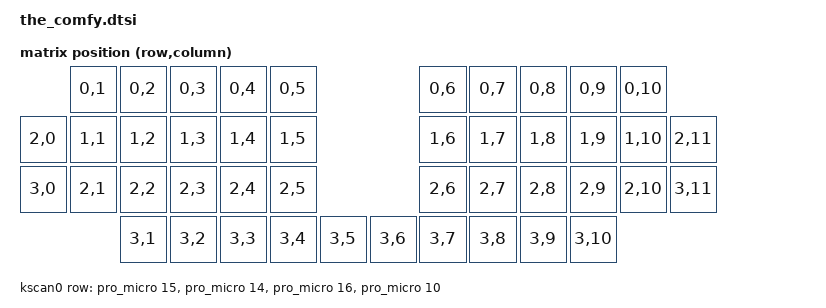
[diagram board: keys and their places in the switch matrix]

#include <dt-bindings/zmk/matrix_transform.h> // Put this with the other includes at the top of your dtsi

/ {
    kscan0: kscan0 {
        compatible = "zmk,kscan-gpio-matrix";
        diode-direction = "col2row";
        wakeup-source;

        row-gpios
            = <&pro_micro 15 (GPIO_ACTIVE_HIGH | GPIO_PULL_DOWN)>
            , <&pro_micro 14 (GPIO_ACTIVE_HIGH | GPIO_PULL_DOWN)>
            , <&pro_micro 16 (GPIO_ACTIVE_HIGH | GPIO_PULL_DOWN)>
            , <&pro_micro 10 (GPIO_ACTIVE_HIGH | GPIO_PULL_DOWN)>
            ;

    };
};

/ {
    physical_layout0: physical_layout_0 { // First physical layout, use different naming for other layouts
        compatible = "zmk,physical-layout";
        display-name = "Default Layout";
        kscan = <&kscan0>; // Label of the kscan node, optional if all layouts use the same
        transform = <&default_transform>; // Label of the matrix transform for this layout
    };
};

/ {
    default_transform: keymap_transform0 {
        compatible = "zmk,matrix-transform";
        columns = <12>;
        rows = <4>;
        map = <
                    RC(0,1) RC(0,2) RC(0,3) RC(0,4) RC(0,5)                     RC(0,6) RC(0,7) RC(0,8) RC(0,9) RC(0,10)
            RC(2,0) RC(1,1) RC(1,2) RC(1,3) RC(1,4) RC(1,5)                     RC(1,6) RC(1,7) RC(1,8) RC(1,9) RC(1,10) RC(2,11)
            RC(3,0) RC(2,1) RC(2,2) RC(2,3) RC(2,4) RC(2,5)                     RC(2,6) RC(2,7) RC(2,8) RC(2,9) RC(2,10) RC(3,11)
                            RC(3,1) RC(3,2) RC(3,3) RC(3,4) RC(3,5)     RC(3,6) RC(3,7) RC(3,8) RC(3,9) RC(3,10)
        >;
    };
};
